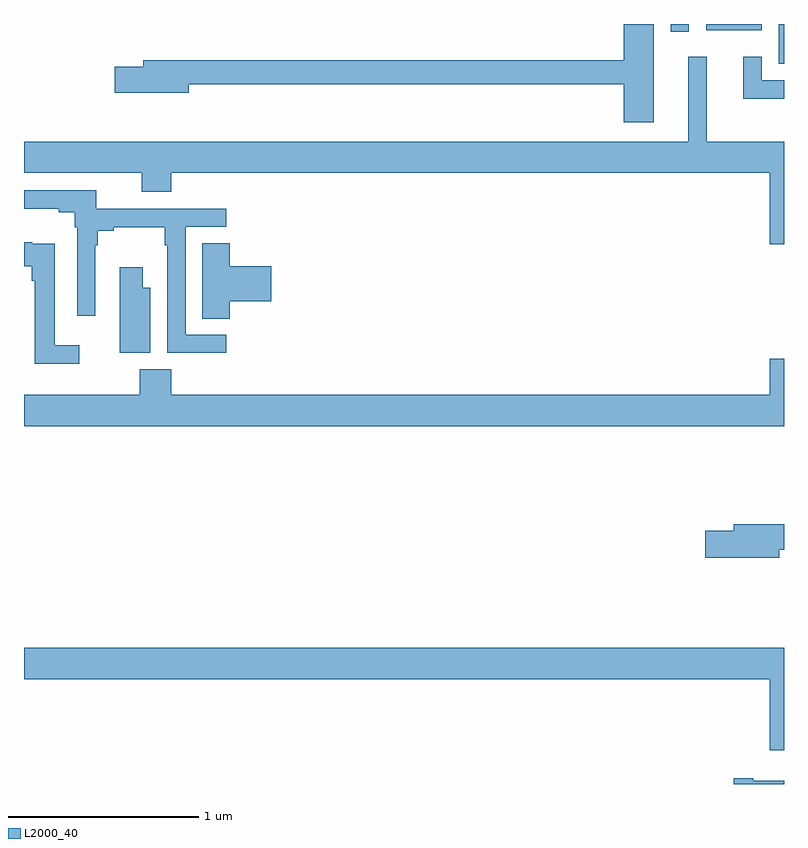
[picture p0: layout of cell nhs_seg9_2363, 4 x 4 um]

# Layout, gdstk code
import gdstk
lib = gdstk.Library(unit=1e-6, precision=1e-09)
def R(c, l, rs):  # rectangles x0, y0, x1, y1
    for r in rs: c.add(gdstk.rectangle(r[:2], r[2:], *l))
def P(c, l, *ps):  # polygons
    for p in ps: c.add(gdstk.Polygon(p, *l))
L2000_40 = (2000, 40)

nhs_seg9_2363 = lib.new_cell('nhs_seg9_2363')
R(nhs_seg9_2363, L2000_40, [(248.972,1234.292,249,1234.5), (248.403,1234.458,248.499,1234.5), (248.591,1234.466,248.884,1234.5)])
P(nhs_seg9_2363, L2000_40, [(248.314,1234.5),(248.156,1234.5),(248.156,1234.31),(245.627,1234.31),(245.627,1234.274),(245.478,1234.274),(245.478,1234.139),(245.866,1234.139),(245.866,1234.182),(248.156,1234.182),(248.156,1233.984),(248.314,1233.984)],
  [(249,1234.203),(248.883,1234.203),(248.883,1234.327),(248.786,1234.327),(248.786,1234.107),(249,1234.107)],
  [(249,1233.88),(248.594,1233.88),(248.594,1234.327),(248.495,1234.327),(248.495,1233.88),(245,1233.88),(245,1233.716),(245.621,1233.716),(245.621,1233.617),(245.774,1233.617),(245.774,1233.716),(248.924,1233.716),(248.924,1233.342),(249,1233.342)],
  [(246.064,1232.865),(245.85,1232.865),(245.85,1233.432),(246.064,1233.432),(246.064,1233.528),(245.379,1233.528),(245.379,1233.624),(245,1233.624),(245,1233.527),(245.183,1233.527),(245.183,1233.508),(245.268,1233.508),(245.268,1233.431),(245.28,1233.431),(245.28,1232.964),(245.376,1232.964),(245.376,1233.335),(245.389,1233.335),(245.389,1233.412),(245.473,1233.412),(245.473,1233.431),(245.742,1233.431),(245.742,1233.335),(245.754,1233.335),(245.754,1232.769),(246.064,1232.769)],
  [(245.29,1232.809),(245.161,1232.809),(245.161,1233.344),(245.043,1233.344),(245.043,1233.352),(245,1233.352),(245,1233.226),(245.04,1233.226),(245.04,1233.149),(245.057,1233.149),(245.057,1232.711),(245.29,1232.711)],
  [(246.083,1233.041),(246.301,1233.041),(246.301,1233.224),(246.083,1233.224),(246.083,1233.347),(245.939,1233.347),(245.939,1232.95),(246.083,1232.95)],
  [(245.665,1233.112),(245.626,1233.112),(245.626,1233.22),(245.504,1233.22),(245.504,1232.769),(245.665,1232.769)],
  [(249,1232.737),(248.924,1232.737),(248.924,1232.548),(245.774,1232.548),(245.774,1232.683),(245.609,1232.683),(245.609,1232.548),(245,1232.548),(245,1232.384),(249,1232.384)],
  [(248.974,1231.732),(249,1231.732),(249,1231.868),(248.735,1231.868),(248.735,1231.832),(248.586,1231.832),(248.586,1231.69),(248.974,1231.69)],
  [(249,1231.216),(245,1231.216),(245,1231.052),(248.924,1231.052),(248.924,1230.678),(249,1230.678)],
  [(249,1230.517),(248.839,1230.517),(248.839,1230.53),(248.735,1230.53),(248.735,1230.5),(249,1230.5)])

lib.write_gds('nhs_seg9_2363.gds')
